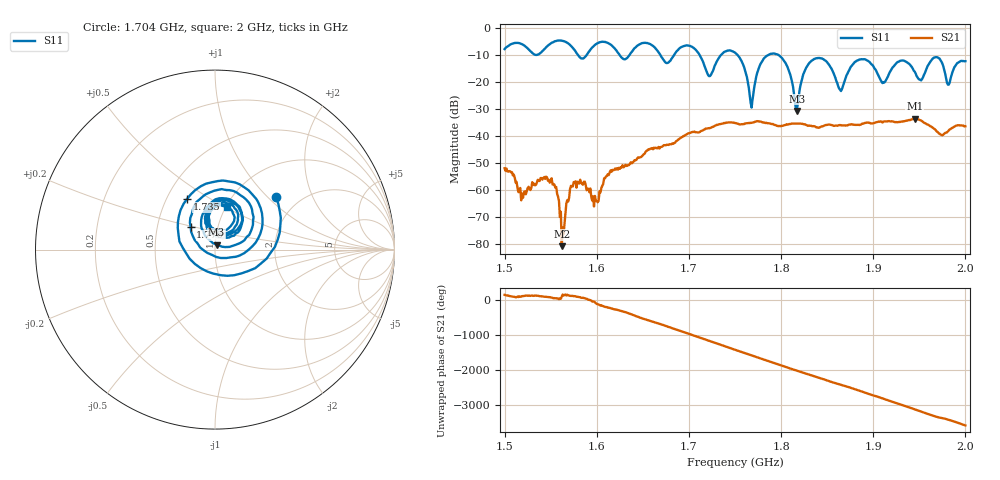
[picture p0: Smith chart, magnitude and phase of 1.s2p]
! NanoVNA-App by SYSJOINT et al v1.1.209 (+OD18)
! Date: 2026-01-21 14:45:50
! Start: 1,5GHz Stop: 2GHz Points: 501
! S-Parameter data: F S11 S21 S12 S22
# Hz S RI R 50
!  Frequency  S11_Real  S11_Imag  S21_Real  S21_Imag  S12_Real  S12_Imag  S22_Real  S22_Imag
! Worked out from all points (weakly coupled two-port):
!   501 points, 1.5 GHz to 2 GHz, reference 50 ohm
!   highest |S21| = -33.54 dB at 1.945 GHz (marker M1); lowest = -80.9 dB at 1.562 GHz (marker M2)
!   lowest |S11| = -30.7 dB at 1.817 GHz (marker M3), VSWR 1.06, Z = 50.8 + j2.83 ohm
!   |S11| at or under -10 dB: 1.712 GHz to 1.735 GHz (22.73 MHz wide, 1.32 % of centre); 1.753 GHz to 1.785 GHz (32.39 MHz wide, 1.83 % of centre); 1.798 GHz to end of sweep (the widest 3 of 6)
!   S12 and S22 are empty: the file has one direction only
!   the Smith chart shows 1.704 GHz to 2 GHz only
!   S11 on the Smith chart (normalised r, x): 1.704 GHz: 1.53, +1.12; 1.735 GHz: 0.63, +0.40; 1.776 GHz: 0.74, +0.19; 2 GHz: 1.02, +0.51
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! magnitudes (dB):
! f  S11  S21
! 1.5 GHz  -7.7  -52.0
! 1.52 GHz  -6.1  -62.9
! 1.552 GHz  -5.2  -58.0
! 1.562 GHz  -4.6  -80.9
! 1.573 GHz  -6.8  -58.7
! 1.584 GHz  -11.2  -57.7
! 1.599 GHz  -5.9  -64.1
! 1.667 GHz  -8.9  -44.1
! 1.704 GHz  -7.0  -38.5
! 1.722 GHz  -17.7  -37.1
! 1.735 GHz  -9.8  -35.5
! 1.75 GHz  -9.0  -35.2
! 1.768 GHz  -29.4  -35.1
! 1.776 GHz  -14.6  -34.6
! 1.8 GHz  -10.7  -36.2
! 1.817 GHz  -30.7  -35.3
! 1.834 GHz  -11.8  -36.4
! 1.864 GHz  -22.8  -35.9
! 1.885 GHz  -11.5  -35.9
! 1.917 GHz  -17.0  -34.4
! 1.945 GHz  -16.1  -33.5
! 2 GHz  -12.2  -36.4
